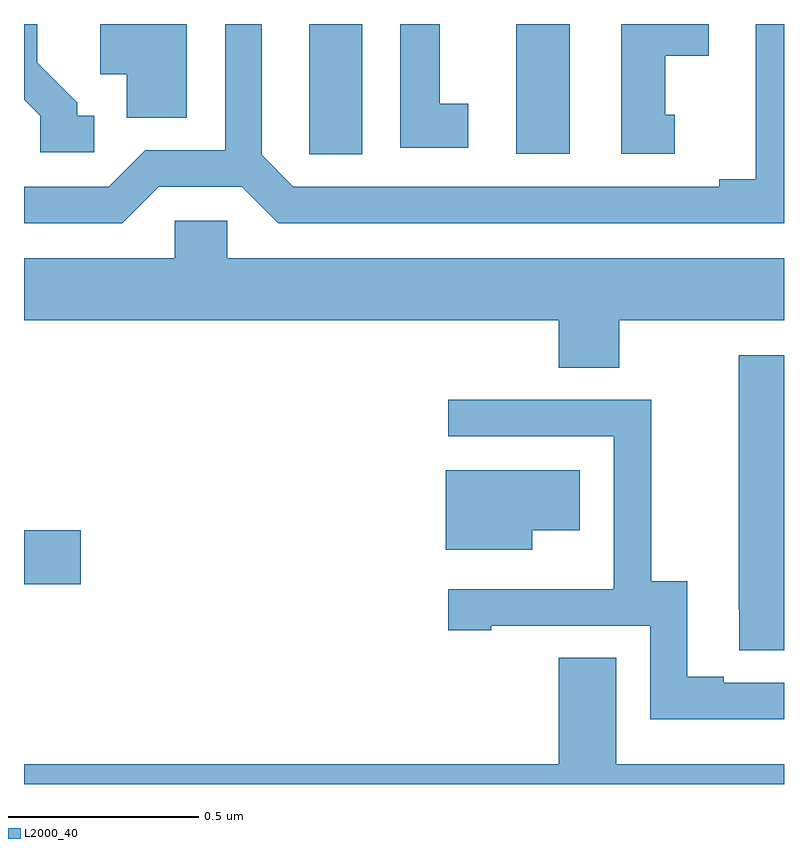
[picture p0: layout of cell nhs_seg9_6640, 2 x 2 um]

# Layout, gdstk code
import gdstk
lib = gdstk.Library(unit=1e-6, precision=1e-09)
def R(c, l, rs):  # rectangles x0, y0, x1, y1
    for r in rs: c.add(gdstk.rectangle(r[:2], r[2:], *l))
def P(c, l, *ps):  # polygons
    for p in ps: c.add(gdstk.Polygon(p, *l))
L2000_40 = (2000, 40)

nhs_seg9_6640 = lib.new_cell('nhs_seg9_6640')
R(nhs_seg9_6640, L2000_40, [(194,1229.026,194.149,1229.168), (195.296,1230.159,195.436,1230.5)])
P(nhs_seg9_6640, L2000_40, [(195.712,1230.261),(195.688,1230.261),(195.688,1230.416),(195.802,1230.416),(195.802,1230.5),(195.572,1230.5),(195.572,1230.159),(195.712,1230.159)],
  [(194.89,1230.5),(194.75,1230.5),(194.75,1230.265),(194.751,1230.265),(194.751,1230.157),(194.89,1230.157)],
  [(194.355,1230.072),(194.573,1230.072),(194.669,1229.976),(196,1229.976),(196,1230.5),(195.926,1230.5),(195.926,1230.092),(195.83,1230.092),(195.83,1230.072),(194.709,1230.072),(194.625,1230.156),(194.625,1230.5),(194.529,1230.5),(194.529,1230.168),(194.319,1230.168),(194.223,1230.072),(194,1230.072),(194,1229.976),(194.259,1229.976)],
  [(194.428,1230.5),(194.201,1230.5),(194.201,1230.368),(194.27,1230.368),(194.27,1230.253),(194.428,1230.253)],
  [(194.185,1230.258),(194.14,1230.258),(194.14,1230.293),(194.035,1230.398),(194.035,1230.5),(194,1230.5),(194,1230.301),(194.043,1230.258),(194.043,1230.162),(194.185,1230.162)],
  [(195.169,1230.29),(195.094,1230.29),(195.094,1230.5),(194.99,1230.5),(194.99,1230.174),(195.169,1230.174)],
  [(195.567,1229.72),(196,1229.72),(196,1229.884),(194.535,1229.884),(194.535,1229.982),(194.397,1229.982),(194.397,1229.884),(194,1229.884),(194,1229.72),(195.407,1229.72),(195.407,1229.596),(195.567,1229.596)],
  [(196,1229.628),(195.881,1229.628),(195.881,1228.96),(195.882,1228.96),(195.882,1228.852),(196,1228.852)],
  [(196,1228.767),(195.841,1228.767),(195.841,1228.782),(195.745,1228.782),(195.745,1229.033),(195.651,1229.033),(195.651,1229.511),(195.117,1229.511),(195.117,1229.415),(195.552,1229.415),(195.552,1229.014),(195.551,1229.014),(195.551,1229.013),(195.117,1229.013),(195.117,1228.905),(195.229,1228.905),(195.229,1228.917),(195.648,1228.917),(195.648,1228.671),(196,1228.671)],
  [(195.337,1229.168),(195.463,1229.168),(195.463,1229.326),(195.11,1229.326),(195.11,1229.117),(195.337,1229.117)],
  [(196,1228.552),(195.559,1228.552),(195.559,1228.832),(195.407,1228.832),(195.407,1228.552),(194,1228.552),(194,1228.5),(196,1228.5)])

lib.write_gds('nhs_seg9_6640.gds')
